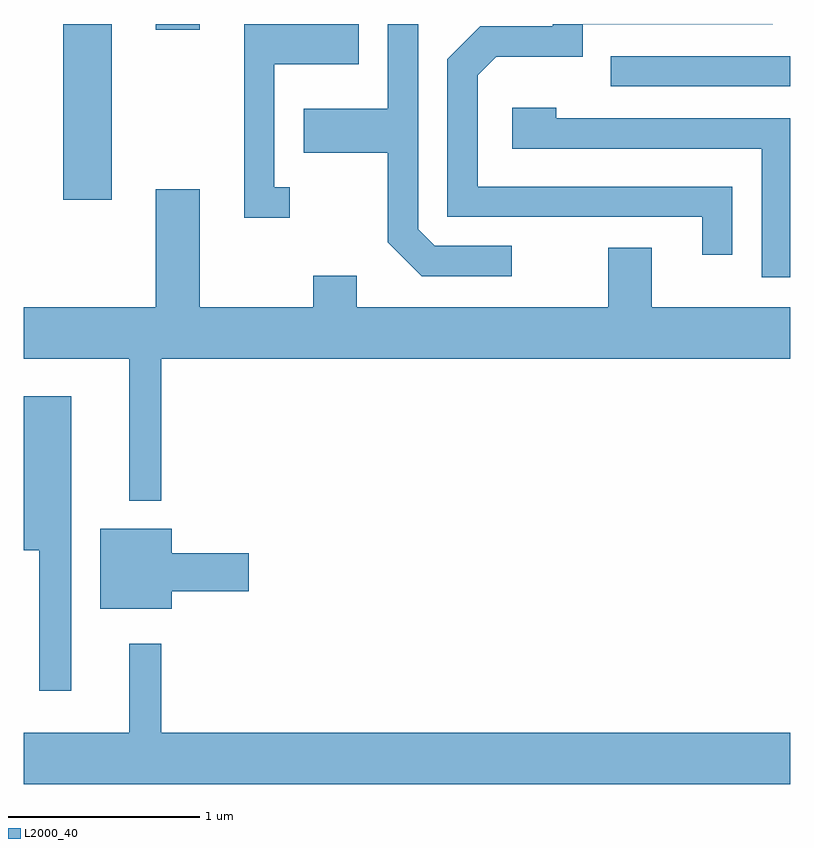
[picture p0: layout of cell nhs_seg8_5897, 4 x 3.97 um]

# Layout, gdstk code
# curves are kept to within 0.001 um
import gdstk
lib = gdstk.Library(unit=1e-6, precision=1e-09)
def R(c, l, rs):  # rectangles x0, y0, x1, y1
    for r in rs: c.add(gdstk.rectangle(r[:2], r[2:], *l))
def P(c, l, *ps):  # polygons
    for p in ps: c.add(gdstk.Polygon(p, *l))
L2000_40 = (2000, 40)

nhs_seg8_5897 = lib.new_cell('nhs_seg8_5897')
R(nhs_seg8_5897, L2000_40, [(361.816,1879.426,362.069,1880.342), (364.673,1880.016,365.611,1880.174), (362.301,1880.311,362.529,1880.342)])
P(nhs_seg8_5897, L2000_40, [(365.309,1879.494),(363.979,1879.494),(363.979,1880.074),(364.077,1880.171),(364.529,1880.171),(364.529,1880.341),(365.519,1880.342),(364.371,1880.342),(364.371,1880.329),(363.994,1880.329),(363.821,1880.157),(363.821,1879.336),(365.151,1879.336),(365.151,1879.138),(365.309,1879.138)],
  [(362.998,1879.489),(362.919,1879.489),(362.919,1880.131),(363.359,1880.131),(363.359,1880.342),(362.761,1880.342),(362.761,1879.331),(362.998,1879.331)],
  [(364.158,1879.184),(363.757,1879.184),(363.669,1879.272),(363.669,1880.342),(363.511,1880.342),(363.511,1879.899),(363.071,1879.899),(363.071,1879.671),(363.511,1879.671),(363.511,1879.204),(363.689,1879.026),(364.158,1879.026)],
  [(365.611,1879.849),(364.389,1879.849),(364.389,1879.904),(364.161,1879.904),(364.161,1879.691),(365.461,1879.691),(365.461,1879.021),(365.611,1879.021)],
  [(362.329,1878.596),(365.611,1878.596),(365.611,1878.864),(364.889,1878.864),(364.889,1879.174),(364.661,1879.174),(364.661,1878.864),(363.349,1878.864),(363.349,1879.029),(363.121,1879.029),(363.121,1878.864),(362.529,1878.864),(362.529,1879.479),(362.301,1879.479),(362.301,1878.864),(361.611,1878.864),(361.611,1878.596),(362.161,1878.596),(362.161,1877.853),(362.329,1877.853)],
  [(361.859,1878.399),(361.611,1878.399),(361.611,1877.596),(361.691,1877.596),(361.691,1876.863),(361.859,1876.863)],
  [(362.384,1877.381),(362.784,1877.381),(362.784,1877.579),(362.384,1877.579),(362.384,1877.709),(362.011,1877.709),(362.011,1877.291),(362.384,1877.291)],
  [(365.611,1876.644),(362.329,1876.644),(362.329,1877.108),(362.161,1877.108),(362.161,1876.644),(361.611,1876.644),(361.611,1876.376),(365.611,1876.376)])

lib.write_gds('nhs_seg8_5897.gds')
